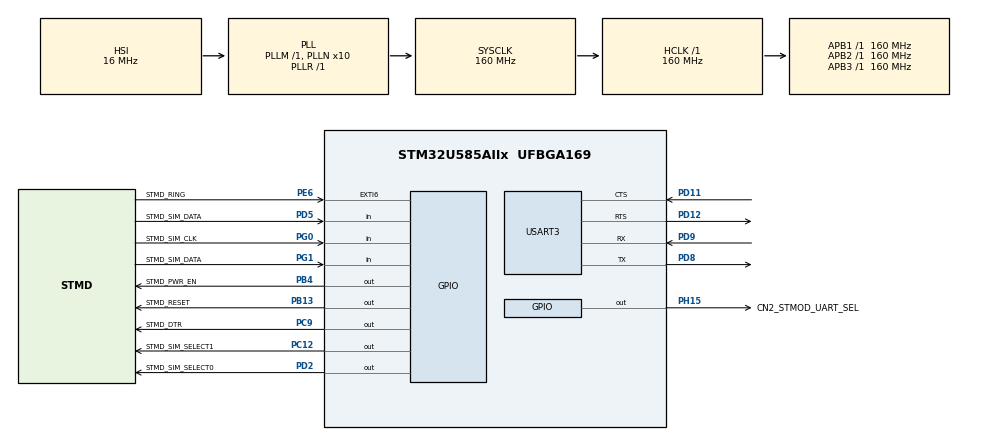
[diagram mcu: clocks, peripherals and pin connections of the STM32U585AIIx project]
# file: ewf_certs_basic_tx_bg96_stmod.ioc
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CORTEX_M33_NS.userName=CORTEX_M33
Mcu.Family=STM32U5
Mcu.Name=STM32U585AIIx
Mcu.Package=UFBGA169
NVIC.EXTI6_IRQn=true\:5\:0\:true\:false\:true\:false\:true\:true\:true
NVIC.PriorityGroup=NVIC_PRIORITYGROUP_4
NVIC.TIM3_IRQn=true\:15\:0\:false\:false\:true\:false\:false\:true\:true
NVIC.TimeBase=TIM3_IRQn
NVIC.TimeBaseIP=TIM3
NVIC.USART3_IRQn=true\:0\:0\:false\:false\:true\:false\:true\:true\:true
PA13\ (JTMS/SWDIO).Mode=Trace_Asynchronous_SW
PA13\ (JTMS/SWDIO).Signal=DEBUG_JTMS-SWDIO
PA14\ (JTCK/SWCLK).Mode=Trace_Asynchronous_SW
PA14\ (JTCK/SWCLK).Signal=DEBUG_JTCK-SWCLK
PB13.GPIO_Label=STMD_RESET
PB13.PinState=GPIO_PIN_SET
PB13.Signal=GPIO_Output
PB3\ (JTDO/TRACESWO).Mode=Trace_Asynchronous_SW
PB3\ (JTDO/TRACESWO).Signal=DEBUG_JTDO-SWO
PB4\ (NJTRST).GPIO_Label=STMD_PWR_EN
PB4\ (NJTRST).PinState=GPIO_PIN_SET
PB4\ (NJTRST).Signal=GPIO_Output
PC12.GPIO_Label=STMD_SIM_SELECT1
PC12.Signal=GPIO_Output
PC9.GPIO_Label=STMD_DTR
PC9.Signal=GPIO_Output
PD11.Mode=CTS_RTS
PD11.Signal=USART3_CTS
PD12.Mode=CTS_RTS
PD12.Signal=USART3_RTS
PD2.GPIO_Label=STMD_SIM_SELECT0
PD2.Signal=GPIO_Output
PD5.GPIO_Label=STMD_SIM_DATA
PD5.Signal=GPIO_Input
PD8.Mode=Asynchronous
PD8.Signal=USART3_TX
PD9.Mode=Asynchronous
PD9.Signal=USART3_RX
PE6.GPIO_Label=STMD_RING
PE6.Signal=GPXTI6
PG0.GPIO_Label=STMD_SIM_CLK
PG0.Signal=GPIO_Input
PG1.GPIO_Label=STMD_SIM_DATA
PG1.Signal=GPIO_Input
PH15.GPIO_Label=CN2_STMOD_UART_SEL
PH15.PinState=GPIO_PIN_SET
PH15.Signal=GPIO_Output
PWR.PowerMode=PWR_SMPS_SUPPLY
ProjectManager.HeapSize=0x200
ProjectManager.StackSize=0x400
ProjectManager.TargetToolchain=STM32CubeIDE
RCC.ADCFreq_Value=16000000
RCC.AHBFreq_Value=160000000
RCC.APB1Freq_Value=160000000
RCC.APB1TimFreq_Value=160000000
RCC.APB2Freq_Value=160000000
RCC.APB2TimFreq_Value=160000000
RCC.APB3Freq_Value=160000000
RCC.CortexFreq_Value=160000000
RCC.DACCLockSelectionVirtual=RCC_DAC1CLKSOURCE_LSI
RCC.DACCLockSelectionVirtualString=RCC_DAC1CLKSOURCE_LSI
RCC.EPOD_VALUE=16000000
RCC.HCLKFreq_Value=160000000
RCC.HSE_VALUE=16000000
RCC.HSI48_VALUE=48000000
RCC.HSI_VALUE=16000000
RCC.LSE_VALUE=32768
RCC.LSIDIV_VALUE=32000
RCC.MSIClockRange=RCC_MSIRANGE_0
RCC.MSI_VALUE=48000000
RCC.PLL1R=1
RCC.PLLN=10
RCC.PLLSourceVirtual=RCC_PLLSOURCE_HSI
RCC.SPI2CLockSelection=RCC_SPI2CLKSOURCE_PCLK1
RCC.SYSCLKFreq_VALUE=160000000
RCC.SYSCLKSource=RCC_SYSCLKSOURCE_PLLCLK
RCC.USBFreq_Value=48000000
RCC.VCOOutputFreq_Value=160000000
THREADX.AZRTOS_APP_MEM_ALLOCATION_METHOD=1
THREADX.TX_APP_MEM_POOL_SIZE=(512*1)
USART3.FIFOMode=FIFOMODE_ENABLE
USART3.RXFIFOThreshold=RXFIFO_THRESHOLD_1QUARTERFULL
USART3.TXFIFOThreshold=TXFIFO_THRESHOLD_1QUARTERFULL
USART3.VirtualMode-Asynchronous=VM_ASYNC
VP_ICACHE_VS_ICACHE.Mode=DirectMappedCache
VP_LPBAMQUEUE_VS_QUEUE.Mode=QUEUEMODE
VP_LPBAM_VS_SIG1.Mode=SmartRun
VP_LPBAM_VS_SIG4.Mode=LPDMA1
VP_PWR_VS_DBSignals.Mode=DisableDeadBatterySignals
VP_PWR_VS_LPOM.Mode=PowerOptimisation
VP_PWR_VS_SECSignals.Mode=Security/Privilege
VP_SYS_VS_tim3.Mode=TIM3
VP_THREADX_VS_RTOSJjThreadXJjCoreJjDefault.Mode=Core_Default
board=custom

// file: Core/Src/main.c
/* USER CODE BEGIN Header */
/**
  ******************************************************************************
  * @file           : main.c
  * @brief          : Main program body
  ******************************************************************************
  * @attention
  *
  * Copyright (c) 2022 STMicroelectronics.
  * All rights reserved.
  *
  * This software is licensed under terms that can be found in the LICENSE file
  * in the root directory of this software component.
  * If no LICENSE file comes with this software, it is provided AS-IS.
  *
  ******************************************************************************
  */
/* USER CODE END Header */
#include "main.h"
#include "app_threadx.h"

/* USER CODE BEGIN Includes */

#include "ewf_lib.c"
#include "ewf_platform_threadx.c"
#include "ewf_allocator.c"
#include "ewf_allocator_threadx.c"
#include "ewf_interface.c"
#include "ewf_interface_stm32_uart.c"
#include "ewf_adapter.c"
#include "ewf_adapter_api_control.c"
#include "ewf_adapter_api_info.c"
#include "ewf_adapter_api_tls_basic.c"
#include "ewf_adapter_api_mqtt_basic.c"
#include "ewf_adapter_api_tcp.c"
#include "ewf_adapter_api_udp.c"
#include "ewf_adapter_api_modem.c"
#include "ewf_adapter_api_modem_general.c"
#include "ewf_adapter_api_modem_network_service.c"
#include "ewf_adapter_api_modem_packet_domain.c"
#include "ewf_adapter_api_modem_sim_utility.c"
#include "ewf_adapter_api_modem_sms.c"
#include "ewf_adapter_quectel_bg96.c"
#include "ewf_example_certs_basic_quectel_bg96.c"
#include "ewf_example.config.h"

/* USER CODE END Includes */

/* USER CODE BEGIN PTD */
#if defined ( __GNUC__) && !defined(__clang__)
/* With GCC, small printf (option LD Linker->Libraries->Small printf
   set to 'Yes') calls __io_putchar() */
#define PUTCHAR_PROTOTYPE int __io_putchar(int ch)
#else
#define PUTCHAR_PROTOTYPE int fputc(int ch, FILE *f)
#endif /* __GNUC__ */

/* USER CODE END PTD */

UART_HandleTypeDef huart3;

void SystemClock_Config(void);
static void SystemPower_Config(void);
static void MX_GPIO_Init(void);
static void MX_ICACHE_Init(void);
static void MX_USART3_UART_Init(void);

/* USER CODE BEGIN 0 */

void ewf_adapter_quectel_bg96_stmod_power_on()
{
    EWF_LOG("\n\nStarting the STMod+ BG96 modem...\n");

    /* Clear the reset pin */
	HAL_GPIO_WritePin(STMD_RESET_GPIO_Port, STMD_RESET_Pin, GPIO_PIN_RESET);

    /* Turn OFF the module to power cycle it */
    HAL_GPIO_WritePin(STMD_PWR_EN_GPIO_Port, STMD_PWR_EN_Pin, GPIO_PIN_RESET);

    /* Wait for one second */
    ewf_platform_sleep(EWF_PLATFORM_TICKS_PER_SECOND * 1);

    /* Power ON */
    HAL_GPIO_WritePin(STMD_PWR_EN_GPIO_Port, STMD_PWR_EN_Pin, GPIO_PIN_SET);

    /* Wait for the modem to reach ready state  */
    ewf_platform_sleep(EWF_PLATFORM_TICKS_PER_SECOND * 7);

    /* Initialize the UART */
    MX_USART3_UART_Init();

    EWF_LOG("Ready!\n");
}

/**
 *  @brief The thread entry point
 */
void thread_entry(ULONG param)
{
    ewf_result result;

    ewf_allocator* message_allocator_ptr = NULL;
    ewf_interface* interface_ptr = NULL;
    ewf_adapter* adapter_ptr = NULL;

    EWF_ALLOCATOR_THREADX_STATIC_DECLARE(message_allocator_ptr, message_allocator,
        EWF_CONFIG_MESSAGE_ALLOCATOR_BLOCK_COUNT,
        EWF_CONFIG_MESSAGE_ALLOCATOR_BLOCK_SIZE);
    EWF_INTERFACE_STM32_UART_STATIC_DECLARE(interface_ptr, stm32_uart_port, &huart3);
    EWF_ADAPTER_QUECTEL_BG96_STATIC_DECLARE(adapter_ptr, quectel_bg96, message_allocator_ptr, NULL, interface_ptr);

	/* Power on the STMOD+ BG96 modem */
    ewf_adapter_quectel_bg96_stmod_power_on();

    // Start the adapter
    if (ewf_result_failed(result = ewf_adapter_start(adapter_ptr)))
    {
        EWF_LOG_ERROR("Failed to start the adapter, ewf_result %d.\n", result);
        exit(result);
    }

    // Set the SIM PIN
    if (ewf_result_failed(result = ewf_adapter_modem_sim_pin_enter(adapter_ptr, EWF_CONFIG_SIM_PIN)))
    {
        EWF_LOG_ERROR("Failed to the SIM PIN, ewf_result %d.\n", result);
        exit(result);
    }

    // Call the certificate provisioning example
    if (ewf_result_failed(result = ewf_example_certs_basic_quectel_bg96(adapter_ptr)))
    {
        EWF_LOG_ERROR("The certificate provisioning example returned and error, ewf_result %d.\n", result);
        exit(result);
    }

    EWF_LOG("\nDone!\n");

    /* Stay here forever.  */
    while (1)
    {
    	EWF_LOG(".");
        tx_thread_sleep(TX_TIMER_TICKS_PER_SECOND);
    }
}

/* USER CODE END 0 */

int main(void)
{

  /* MCU Configuration--------------------------------------------------------*/

  /* Reset of all peripherals, Initializes the Flash interface and the Systick. */
  HAL_Init();

  /* Configure the system clock */
  SystemClock_Config();

  /* Configure the System Power */
  SystemPower_Config();

  /* Initialize all configured peripherals */
  MX_GPIO_Init();
  MX_ICACHE_Init();

  MX_ThreadX_Init();

  /* We should never get here as control is now taken by the scheduler */
  /* Infinite loop */
  while (1)
  {

  }
}

void SystemClock_Config(void)
{
  RCC_OscInitTypeDef RCC_OscInitStruct = {0};
  RCC_ClkInitTypeDef RCC_ClkInitStruct = {0};

  /** Configure the main internal regulator output voltage
  */
  if (HAL_PWREx_ControlVoltageScaling(PWR_REGULATOR_VOLTAGE_SCALE1) != HAL_OK)
  {
    Error_Handler();
  }

  /** Initializes the CPU, AHB and APB buses clocks
  */
  RCC_OscInitStruct.OscillatorType = RCC_OSCILLATORTYPE_HSI;
  RCC_OscInitStruct.HSIState = RCC_HSI_ON;
  RCC_OscInitStruct.HSICalibrationValue = RCC_HSICALIBRATION_DEFAULT;
  RCC_OscInitStruct.PLL.PLLState = RCC_PLL_ON;
  RCC_OscInitStruct.PLL.PLLSource = RCC_PLLSOURCE_HSI;
  RCC_OscInitStruct.PLL.PLLMBOOST = RCC_PLLMBOOST_DIV1;
  RCC_OscInitStruct.PLL.PLLM = 1;
  RCC_OscInitStruct.PLL.PLLN = 10;
  RCC_OscInitStruct.PLL.PLLP = 2;
  RCC_OscInitStruct.PLL.PLLQ = 2;
  RCC_OscInitStruct.PLL.PLLR = 1;
  RCC_OscInitStruct.PLL.PLLRGE = RCC_PLLVCIRANGE_1;
  RCC_OscInitStruct.PLL.PLLFRACN = 0;
  if (HAL_RCC_OscConfig(&RCC_OscInitStruct) != HAL_OK)
  {
    Error_Handler();
  }

  /** Initializes the CPU, AHB and APB buses clocks
  */
  RCC_ClkInitStruct.ClockType = RCC_CLOCKTYPE_HCLK|RCC_CLOCKTYPE_SYSCLK
                              |RCC_CLOCKTYPE_PCLK1|RCC_CLOCKTYPE_PCLK2
                              |RCC_CLOCKTYPE_PCLK3;
  RCC_ClkInitStruct.SYSCLKSource = RCC_SYSCLKSOURCE_PLLCLK;
  RCC_ClkInitStruct.AHBCLKDivider = RCC_SYSCLK_DIV1;
  RCC_ClkInitStruct.APB1CLKDivider = RCC_HCLK_DIV1;
  RCC_ClkInitStruct.APB2CLKDivider = RCC_HCLK_DIV1;
  RCC_ClkInitStruct.APB3CLKDivider = RCC_HCLK_DIV1;

  if (HAL_RCC_ClockConfig(&RCC_ClkInitStruct, FLASH_LATENCY_4) != HAL_OK)
  {
    Error_Handler();
  }
}

/**
  * @brief Power Configuration
  * @retval None
  */
static void SystemPower_Config(void)
{

  /*
   * Disable the internal Pull-Up in Dead Battery pins of UCPD peripheral
   */
  HAL_PWREx_DisableUCPDDeadBattery();
}

static void MX_ICACHE_Init(void)
{

  /** Enable instruction cache in 1-way (direct mapped cache)
  */
  if (HAL_ICACHE_ConfigAssociativityMode(ICACHE_1WAY) != HAL_OK)
  {
    Error_Handler();
  }
  if (HAL_ICACHE_Enable() != HAL_OK)
  {
    Error_Handler();
  }

}

static void MX_USART3_UART_Init(void)
{

  huart3.Instance = USART3;
  huart3.Init.BaudRate = 115200;
  huart3.Init.WordLength = UART_WORDLENGTH_8B;
  huart3.Init.StopBits = UART_STOPBITS_1;
  huart3.Init.Parity = UART_PARITY_NONE;
  huart3.Init.Mode = UART_MODE_TX_RX;
  huart3.Init.HwFlowCtl = UART_HWCONTROL_RTS_CTS;
  huart3.Init.OverSampling = UART_OVERSAMPLING_16;
  huart3.Init.OneBitSampling = UART_ONE_BIT_SAMPLE_DISABLE;
  huart3.Init.ClockPrescaler = UART_PRESCALER_DIV1;
  huart3.AdvancedInit.AdvFeatureInit = UART_ADVFEATURE_NO_INIT;
  if (HAL_UART_Init(&huart3) != HAL_OK)
  {
    Error_Handler();
  }
  if (HAL_UARTEx_SetTxFifoThreshold(&huart3, UART_TXFIFO_THRESHOLD_1_4) != HAL_OK)
  {
    Error_Handler();
  }
  if (HAL_UARTEx_SetRxFifoThreshold(&huart3, UART_RXFIFO_THRESHOLD_1_4) != HAL_OK)
  {
    Error_Handler();
  }
  if (HAL_UARTEx_EnableFifoMode(&huart3) != HAL_OK)
  {
    Error_Handler();
  }

}

static void MX_GPIO_Init(void)
{
  GPIO_InitTypeDef GPIO_InitStruct = {0};

  /* GPIO Ports Clock Enable */
  __HAL_RCC_GPIOH_CLK_ENABLE();
  __HAL_RCC_GPIOB_CLK_ENABLE();
  __HAL_RCC_GPIOA_CLK_ENABLE();
  __HAL_RCC_GPIOE_CLK_ENABLE();
  __HAL_RCC_GPIOD_CLK_ENABLE();
  __HAL_RCC_GPIOC_CLK_ENABLE();
  __HAL_RCC_GPIOG_CLK_ENABLE();

  /*Configure GPIO pin Output Level */
  HAL_GPIO_WritePin(CN2_STMOD_UART_SEL_GPIO_Port, CN2_STMOD_UART_SEL_Pin, GPIO_PIN_SET);

  /*Configure GPIO pin Output Level */
  HAL_GPIO_WritePin(GPIOB, STMD_PWR_EN_Pin|STMD_RESET_Pin, GPIO_PIN_SET);

  /*Configure GPIO pin Output Level */
  HAL_GPIO_WritePin(GPIOC, STMD_SIM_SELECT1_Pin|STMD_DTR_Pin, GPIO_PIN_RESET);

  /*Configure GPIO pin Output Level */
  HAL_GPIO_WritePin(STMD_SIM_SELECT0_GPIO_Port, STMD_SIM_SELECT0_Pin, GPIO_PIN_RESET);

  /*Configure GPIO pin : CN2_STMOD_UART_SEL_Pin */
  GPIO_InitStruct.Pin = CN2_STMOD_UART_SEL_Pin;
  GPIO_InitStruct.Mode = GPIO_MODE_OUTPUT_PP;
  GPIO_InitStruct.Pull = GPIO_NOPULL;
  GPIO_InitStruct.Speed = GPIO_SPEED_FREQ_LOW;
  HAL_GPIO_Init(CN2_STMOD_UART_SEL_GPIO_Port, &GPIO_InitStruct);

  /*Configure GPIO pins : STMD_PWR_EN_Pin STMD_RESET_Pin */
  GPIO_InitStruct.Pin = STMD_PWR_EN_Pin|STMD_RESET_Pin;
  GPIO_InitStruct.Mode = GPIO_MODE_OUTPUT_PP;
  GPIO_InitStruct.Pull = GPIO_NOPULL;
  GPIO_InitStruct.Speed = GPIO_SPEED_FREQ_LOW;
  HAL_GPIO_Init(GPIOB, &GPIO_InitStruct);

  /*Configure GPIO pin : STMD_RING_Pin */
  GPIO_InitStruct.Pin = STMD_RING_Pin;
  GPIO_InitStruct.Mode = GPIO_MODE_IT_RISING;
  GPIO_InitStruct.Pull = GPIO_NOPULL;
  HAL_GPIO_Init(STMD_RING_GPIO_Port, &GPIO_InitStruct);

  /*Configure GPIO pin : STMD_SIM_DATA_Pin */
  GPIO_InitStruct.Pin = STMD_SIM_DATA_Pin;
  GPIO_InitStruct.Mode = GPIO_MODE_INPUT;
  GPIO_InitStruct.Pull = GPIO_NOPULL;
  HAL_GPIO_Init(STMD_SIM_DATA_GPIO_Port, &GPIO_InitStruct);

  /*Configure GPIO pins : STMD_SIM_SELECT1_Pin STMD_DTR_Pin */
  GPIO_InitStruct.Pin = STMD_SIM_SELECT1_Pin|STMD_DTR_Pin;
  GPIO_InitStruct.Mode = GPIO_MODE_OUTPUT_PP;
  GPIO_InitStruct.Pull = GPIO_NOPULL;
  GPIO_InitStruct.Speed = GPIO_SPEED_FREQ_LOW;
  HAL_GPIO_Init(GPIOC, &GPIO_InitStruct);

  /*Configure GPIO pin : STMD_SIM_SELECT0_Pin */
  GPIO_InitStruct.Pin = STMD_SIM_SELECT0_Pin;
  GPIO_InitStruct.Mode = GPIO_MODE_OUTPUT_PP;
  GPIO_InitStruct.Pull = GPIO_NOPULL;
  GPIO_InitStruct.Speed = GPIO_SPEED_FREQ_LOW;
  HAL_GPIO_Init(STMD_SIM_SELECT0_GPIO_Port, &GPIO_InitStruct);

  /*Configure GPIO pins : STMD_SIM_DATAG1_Pin STMD_SIM_CLK_Pin */
  GPIO_InitStruct.Pin = STMD_SIM_DATAG1_Pin|STMD_SIM_CLK_Pin;
  GPIO_InitStruct.Mode = GPIO_MODE_INPUT;
  GPIO_InitStruct.Pull = GPIO_NOPULL;
  HAL_GPIO_Init(GPIOG, &GPIO_InitStruct);

  /* EXTI interrupt init*/
  HAL_NVIC_SetPriority(EXTI6_IRQn, 5, 0);
  HAL_NVIC_EnableIRQ(EXTI6_IRQn);

}

/* USER CODE BEGIN 4 */
/**
* @brief  Retargets the C library printf function to the USART.
* @param  None
* @retval None
*/

PUTCHAR_PROTOTYPE
{
    /* Place your implementation of fputc here */
    /* e.g. write a character to the USART1 and Loop until the end of transmission */
    ITM_SendChar(ch);
    return ch;
}
/* USER CODE END 4 */

void HAL_TIM_PeriodElapsedCallback(TIM_HandleTypeDef *htim)
{
  if (htim->Instance == TIM3) {
    HAL_IncTick();
  }
}

void Error_Handler(void)
{
  __disable_irq();
  while (1)
  {
  }
}
